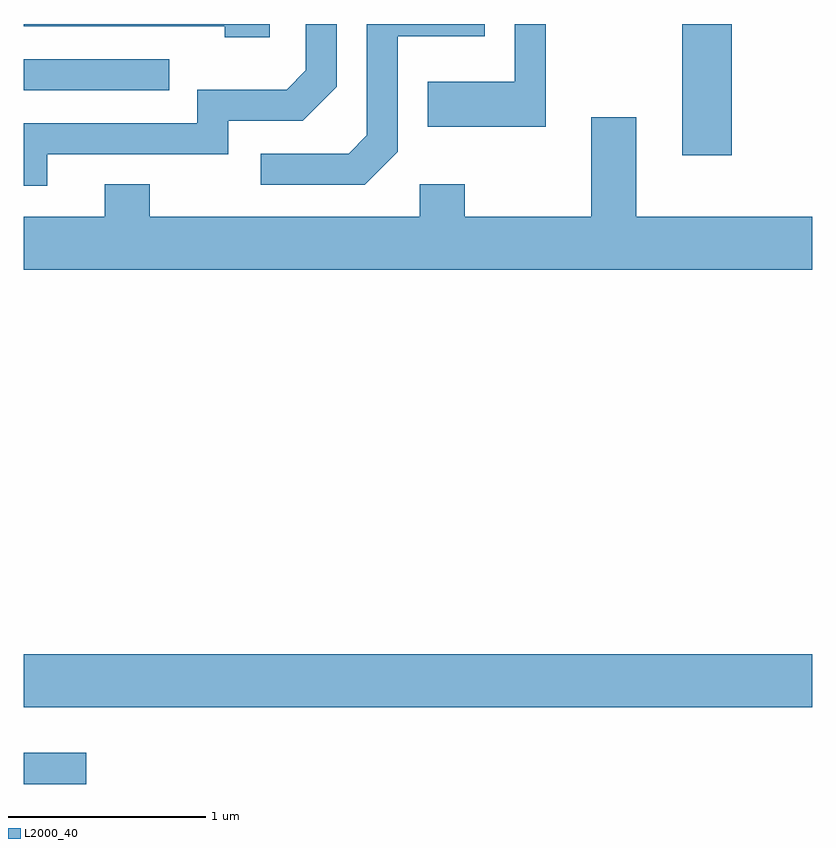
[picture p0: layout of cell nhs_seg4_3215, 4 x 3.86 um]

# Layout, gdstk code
import gdstk
lib = gdstk.Library(unit=1e-6, precision=1e-09)
def R(c, l, rs):  # rectangles x0, y0, x1, y1
    for r in rs: c.add(gdstk.rectangle(r[:2], r[2:], *l))
def P(c, l, *ps):  # polygons
    for p in ps: c.add(gdstk.Polygon(p, *l))
L2000_40 = (2000, 40)

nhs_seg4_3215 = lib.new_cell('nhs_seg4_3215')
R(nhs_seg4_3215, L2000_40, [(279.611,1292.126,279.928,1292.284), (279.611,1292.516,283.611,1292.784), (282.951,1295.316,283.204,1295.982), (279.611,1295.646,280.348,1295.804)])
P(nhs_seg4_3215, L2000_40, [(279.729,1295.321),(280.649,1295.321),(280.649,1295.491),(281.027,1295.491),(281.199,1295.664),(281.199,1295.982),(281.041,1295.982),(281.041,1295.747),(280.944,1295.649),(280.491,1295.649),(280.491,1295.479),(279.611,1295.479),(279.611,1295.161),(279.729,1295.161)],
  [(280.859,1295.982),(279.611,1295.982),(279.611,1295.971),(280.631,1295.971),(280.631,1295.916),(280.859,1295.916)],
  [(282.259,1295.982),(282.101,1295.982),(282.101,1295.689),(281.661,1295.689),(281.661,1295.461),(282.259,1295.461)],
  [(281.509,1295.334),(281.509,1295.921),(281.949,1295.921),(281.949,1295.982),(281.351,1295.982),(281.351,1295.417),(281.259,1295.324),(280.813,1295.324),(280.813,1295.166),(281.342,1295.166)],
  [(283.611,1295.004),(282.719,1295.004),(282.719,1295.509),(282.491,1295.509),(282.491,1295.004),(281.849,1295.004),(281.849,1295.169),(281.621,1295.169),(281.621,1295.004),(280.249,1295.004),(280.249,1295.169),(280.021,1295.169),(280.021,1295.004),(279.611,1295.004),(279.611,1294.736),(283.611,1294.736)])

lib.write_gds('nhs_seg4_3215.gds')
